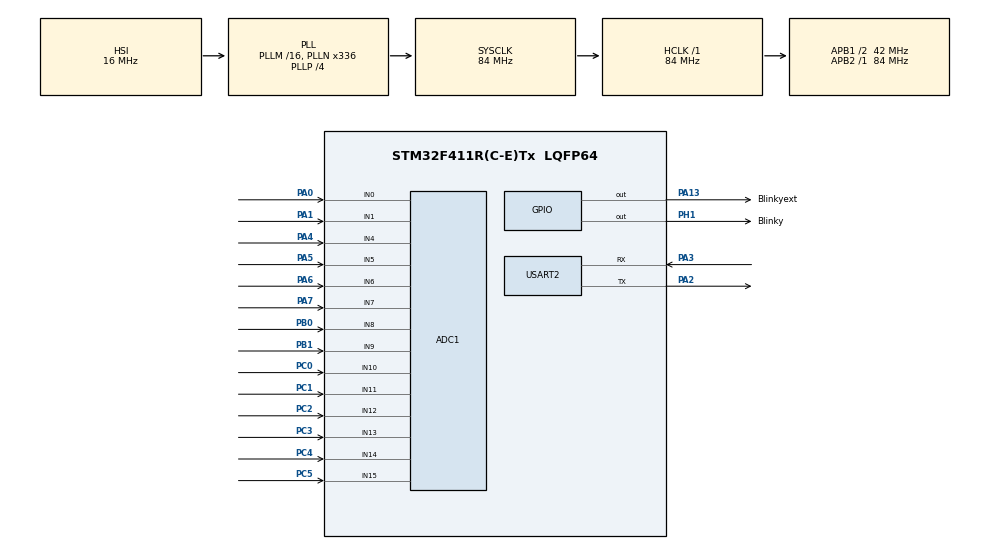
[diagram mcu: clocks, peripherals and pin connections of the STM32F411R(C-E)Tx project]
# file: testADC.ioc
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ADC1.Channel-0\#ChannelRegularConversion=ADC_CHANNEL_0
ADC1.Channel-1\#ChannelRegularConversion=ADC_CHANNEL_1
ADC1.Channel-10\#ChannelRegularConversion=ADC_CHANNEL_12
ADC1.Channel-11\#ChannelRegularConversion=ADC_CHANNEL_13
ADC1.Channel-12\#ChannelRegularConversion=ADC_CHANNEL_14
ADC1.Channel-13\#ChannelRegularConversion=ADC_CHANNEL_15
ADC1.Channel-2\#ChannelRegularConversion=ADC_CHANNEL_4
ADC1.Channel-3\#ChannelRegularConversion=ADC_CHANNEL_5
ADC1.Channel-4\#ChannelRegularConversion=ADC_CHANNEL_6
ADC1.Channel-5\#ChannelRegularConversion=ADC_CHANNEL_7
ADC1.Channel-6\#ChannelRegularConversion=ADC_CHANNEL_8
ADC1.Channel-7\#ChannelRegularConversion=ADC_CHANNEL_9
ADC1.Channel-8\#ChannelRegularConversion=ADC_CHANNEL_10
ADC1.Channel-9\#ChannelRegularConversion=ADC_CHANNEL_11
ADC1.ContinuousConvMode=ENABLE
ADC1.NbrOfConversion=14
ADC1.NbrOfConversionFlag=1
ADC1.Rank-0\#ChannelRegularConversion=1
ADC1.Rank-1\#ChannelRegularConversion=2
ADC1.Rank-10\#ChannelRegularConversion=11
ADC1.Rank-11\#ChannelRegularConversion=12
ADC1.Rank-12\#ChannelRegularConversion=13
ADC1.Rank-13\#ChannelRegularConversion=14
ADC1.Rank-2\#ChannelRegularConversion=3
ADC1.Rank-3\#ChannelRegularConversion=4
ADC1.Rank-4\#ChannelRegularConversion=5
ADC1.Rank-5\#ChannelRegularConversion=6
ADC1.Rank-6\#ChannelRegularConversion=7
ADC1.Rank-7\#ChannelRegularConversion=8
ADC1.Rank-8\#ChannelRegularConversion=9
ADC1.Rank-9\#ChannelRegularConversion=10
ADC1.SamplingTime-0\#ChannelRegularConversion=ADC_SAMPLETIME_3CYCLES
ADC1.SamplingTime-1\#ChannelRegularConversion=ADC_SAMPLETIME_3CYCLES
ADC1.SamplingTime-10\#ChannelRegularConversion=ADC_SAMPLETIME_3CYCLES
ADC1.SamplingTime-11\#ChannelRegularConversion=ADC_SAMPLETIME_3CYCLES
ADC1.SamplingTime-12\#ChannelRegularConversion=ADC_SAMPLETIME_3CYCLES
ADC1.SamplingTime-13\#ChannelRegularConversion=ADC_SAMPLETIME_3CYCLES
ADC1.SamplingTime-2\#ChannelRegularConversion=ADC_SAMPLETIME_3CYCLES
ADC1.SamplingTime-3\#ChannelRegularConversion=ADC_SAMPLETIME_3CYCLES
ADC1.SamplingTime-4\#ChannelRegularConversion=ADC_SAMPLETIME_3CYCLES
ADC1.SamplingTime-5\#ChannelRegularConversion=ADC_SAMPLETIME_3CYCLES
ADC1.SamplingTime-6\#ChannelRegularConversion=ADC_SAMPLETIME_3CYCLES
ADC1.SamplingTime-7\#ChannelRegularConversion=ADC_SAMPLETIME_3CYCLES
ADC1.SamplingTime-8\#ChannelRegularConversion=ADC_SAMPLETIME_3CYCLES
ADC1.SamplingTime-9\#ChannelRegularConversion=ADC_SAMPLETIME_3CYCLES
ADC1.ScanConvMode=ENABLE
ADC1.master=1
Dma.ADC1.0.Direction=DMA_PERIPH_TO_MEMORY
Dma.ADC1.0.FIFOMode=DMA_FIFOMODE_DISABLE
Dma.ADC1.0.Instance=DMA2_Stream0
Dma.ADC1.0.MemDataAlignment=DMA_MDATAALIGN_HALFWORD
Dma.ADC1.0.MemInc=DMA_MINC_ENABLE
Dma.ADC1.0.Mode=DMA_CIRCULAR
Dma.ADC1.0.PeriphDataAlignment=DMA_PDATAALIGN_HALFWORD
Dma.ADC1.0.PeriphInc=DMA_PINC_DISABLE
Dma.ADC1.0.Priority=DMA_PRIORITY_LOW
Dma.Request0=ADC1
Dma.Request1=USART2_RX
Dma.Request2=USART2_TX
Dma.USART2_RX.1.Direction=DMA_PERIPH_TO_MEMORY
Dma.USART2_RX.1.FIFOMode=DMA_FIFOMODE_DISABLE
Dma.USART2_RX.1.Instance=DMA1_Stream5
Dma.USART2_RX.1.MemDataAlignment=DMA_MDATAALIGN_BYTE
Dma.USART2_RX.1.MemInc=DMA_MINC_ENABLE
Dma.USART2_RX.1.Mode=DMA_CIRCULAR
Dma.USART2_RX.1.PeriphDataAlignment=DMA_PDATAALIGN_BYTE
Dma.USART2_RX.1.PeriphInc=DMA_PINC_DISABLE
Dma.USART2_RX.1.Priority=DMA_PRIORITY_LOW
Dma.USART2_TX.2.Direction=DMA_MEMORY_TO_PERIPH
Dma.USART2_TX.2.FIFOMode=DMA_FIFOMODE_DISABLE
Dma.USART2_TX.2.Instance=DMA1_Stream6
Dma.USART2_TX.2.MemDataAlignment=DMA_MDATAALIGN_BYTE
Dma.USART2_TX.2.MemInc=DMA_MINC_ENABLE
Dma.USART2_TX.2.Mode=DMA_CIRCULAR
Dma.USART2_TX.2.PeriphDataAlignment=DMA_PDATAALIGN_BYTE
Dma.USART2_TX.2.PeriphInc=DMA_PINC_DISABLE
Dma.USART2_TX.2.Priority=DMA_PRIORITY_LOW
Mcu.Family=STM32F4
Mcu.Name=STM32F411R(C-E)Tx
Mcu.Package=LQFP64
NVIC.DMA1_Stream5_IRQn=true\:0\:0\:false\:false\:true\:false\:true\:true
NVIC.DMA1_Stream6_IRQn=true\:0\:0\:false\:false\:true\:false\:true\:true
NVIC.DMA2_Stream0_IRQn=true\:0\:0\:false\:false\:true\:false\:true\:true
NVIC.PriorityGroup=NVIC_PRIORITYGROUP_0
PA0-WKUP.Signal=ADCx_IN0
PA1.Signal=ADCx_IN1
PA13.GPIO_Label=Blinkyext
PA13.Signal=GPIO_Output
PA2.Mode=Asynchronous
PA2.Signal=USART2_TX
PA3.Mode=Asynchronous
PA3.Signal=USART2_RX
PA4.Signal=ADCx_IN4
PA5.Signal=ADCx_IN5
PA6.Signal=ADCx_IN6
PA7.Signal=ADCx_IN7
PB0.Signal=ADCx_IN8
PB1.Signal=ADCx_IN9
PC0.Signal=ADCx_IN10
PC1.Signal=ADCx_IN11
PC2.Signal=ADCx_IN12
PC3.Signal=ADCx_IN13
PC4.Signal=ADCx_IN14
PC5.Signal=ADCx_IN15
PH1\ -\ OSC_OUT.GPIO_Label=Blinky
PH1\ -\ OSC_OUT.Signal=GPIO_Output
ProjectManager.HeapSize=0x200
ProjectManager.StackSize=0x400
ProjectManager.TargetToolchain=STM32CubeIDE
RCC.48MHZClocksFreq_Value=84000000
RCC.AHBFreq_Value=84000000
RCC.APB1CLKDivider=RCC_HCLK_DIV2
RCC.APB1Freq_Value=42000000
RCC.APB1TimFreq_Value=84000000
RCC.APB2Freq_Value=84000000
RCC.APB2TimFreq_Value=84000000
RCC.CortexFreq_Value=84000000
RCC.FLatency-AdvancedSettings=FLASH_LATENCY_2
RCC.HCLKFreq_Value=84000000
RCC.HSE_VALUE=8000000
RCC.HSI_VALUE=16000000
RCC.LSE_VALUE=32768
RCC.PLLN=336
RCC.PLLP=RCC_PLLP_DIV4
RCC.SYSCLKFreq_VALUE=84000000
RCC.SYSCLKSource=RCC_SYSCLKSOURCE_PLLCLK
RCC.VCOOutputFreq_Value=336000000
SH.ADCx_IN0.0=ADC1_IN0,IN0
SH.ADCx_IN1.0=ADC1_IN1,IN1
SH.ADCx_IN10.0=ADC1_IN10,IN10
SH.ADCx_IN11.0=ADC1_IN11,IN11
SH.ADCx_IN12.0=ADC1_IN12,IN12
SH.ADCx_IN13.0=ADC1_IN13,IN13
SH.ADCx_IN14.0=ADC1_IN14,IN14
SH.ADCx_IN15.0=ADC1_IN15,IN15
SH.ADCx_IN4.0=ADC1_IN4,IN4
SH.ADCx_IN5.0=ADC1_IN5,IN5
SH.ADCx_IN6.0=ADC1_IN6,IN6
SH.ADCx_IN7.0=ADC1_IN7,IN7
SH.ADCx_IN8.0=ADC1_IN8,IN8
SH.ADCx_IN9.0=ADC1_IN9,IN9
USART2.VirtualMode=VM_ASYNC
board=NUCLEO-F411RE

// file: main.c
/* USER CODE BEGIN Header */
/**
 ******************************************************************************
 * @file           : main.c
 * @brief          : Main program body
 ******************************************************************************
 * @attention
 *
 * Copyright (c) 2026 STMicroelectronics.
 * All rights reserved.
 *
 * This software is licensed under terms that can be found in the LICENSE file
 * in the root directory of this software component.
 * If no LICENSE file comes with this software, it is provided AS-IS.
 *
 ******************************************************************************
 */
/* USER CODE END Header */
#include "main.h"

/* USER CODE BEGIN Includes */
#include "stdio.h"
#include "string.h"
/* USER CODE END Includes */

ADC_HandleTypeDef hadc1;
DMA_HandleTypeDef hdma_adc1;

UART_HandleTypeDef huart2;
DMA_HandleTypeDef hdma_usart2_rx;
DMA_HandleTypeDef hdma_usart2_tx;

/* USER CODE BEGIN PV */
uint16_t adcbuffer[14] = {0}; //Buffer necesario para almacenar y transmitir los valores obtenidos del ADC
volatile uint8_t adcReady = 0;
uint16_t lecturaADCx = 0;

/* USER CODE END PV */

void SystemClock_Config(void);
static void MX_GPIO_Init(void);
static void MX_DMA_Init(void);
static void MX_ADC1_Init(void);
static void MX_USART2_UART_Init(void);
/* USER CODE BEGIN PFP */
void testadc(void);
uint16_t ConversionADC(uint16_t adcx);
/* USER CODE END PFP */

int main(void)
{

	/* MCU Configuration--------------------------------------------------------*/

	/* Reset of all peripherals, Initializes the Flash interface and the Systick. */
	HAL_Init();

	/* Configure the system clock */
	SystemClock_Config();

	/* Initialize all configured peripherals */
	MX_GPIO_Init();
	MX_DMA_Init();
	MX_ADC1_Init();
	MX_USART2_UART_Init();
	/* USER CODE BEGIN 2 */
	HAL_Delay(1000);
	testadc();

	/* USER CODE END 2 */

	/* Infinite loop */
	while (1)
	{
		HAL_GPIO_TogglePin(Blinkyext_GPIO_Port, Blinkyext_Pin);
		HAL_Delay(500);
	}
}

void SystemClock_Config(void)
{
	RCC_OscInitTypeDef RCC_OscInitStruct = {0};
	RCC_ClkInitTypeDef RCC_ClkInitStruct = {0};

	/** Configure the main internal regulator output voltage
	 */
	__HAL_RCC_PWR_CLK_ENABLE();
	__HAL_PWR_VOLTAGESCALING_CONFIG(PWR_REGULATOR_VOLTAGE_SCALE1);

	/** Initializes the RCC Oscillators according to the specified parameters
	 * in the RCC_OscInitTypeDef structure.
	 */
	RCC_OscInitStruct.OscillatorType = RCC_OSCILLATORTYPE_HSI;
	RCC_OscInitStruct.HSIState = RCC_HSI_ON;
	RCC_OscInitStruct.HSICalibrationValue = RCC_HSICALIBRATION_DEFAULT;
	RCC_OscInitStruct.PLL.PLLState = RCC_PLL_ON;
	RCC_OscInitStruct.PLL.PLLSource = RCC_PLLSOURCE_HSI;
	RCC_OscInitStruct.PLL.PLLM = 16;
	RCC_OscInitStruct.PLL.PLLN = 336;
	RCC_OscInitStruct.PLL.PLLP = RCC_PLLP_DIV4;
	RCC_OscInitStruct.PLL.PLLQ = 4;
	if (HAL_RCC_OscConfig(&RCC_OscInitStruct) != HAL_OK)
	{
		Error_Handler();
	}

	/** Initializes the CPU, AHB and APB buses clocks
	 */
	RCC_ClkInitStruct.ClockType = RCC_CLOCKTYPE_HCLK|RCC_CLOCKTYPE_SYSCLK
			|RCC_CLOCKTYPE_PCLK1|RCC_CLOCKTYPE_PCLK2;
	RCC_ClkInitStruct.SYSCLKSource = RCC_SYSCLKSOURCE_PLLCLK;
	RCC_ClkInitStruct.AHBCLKDivider = RCC_SYSCLK_DIV1;
	RCC_ClkInitStruct.APB1CLKDivider = RCC_HCLK_DIV2;
	RCC_ClkInitStruct.APB2CLKDivider = RCC_HCLK_DIV1;

	if (HAL_RCC_ClockConfig(&RCC_ClkInitStruct, FLASH_LATENCY_2) != HAL_OK)
	{
		Error_Handler();
	}
}

static void MX_ADC1_Init(void)
{

	ADC_ChannelConfTypeDef sConfig = {0};

	/** Configure the global features of the ADC (Clock, Resolution, Data Alignment and number of conversion)
	 */
	hadc1.Instance = ADC1;
	hadc1.Init.ClockPrescaler = ADC_CLOCK_SYNC_PCLK_DIV4;
	hadc1.Init.Resolution = ADC_RESOLUTION_12B;
	hadc1.Init.ScanConvMode = ENABLE;
	hadc1.Init.ContinuousConvMode = ENABLE;
	hadc1.Init.DiscontinuousConvMode = DISABLE;
	hadc1.Init.ExternalTrigConvEdge = ADC_EXTERNALTRIGCONVEDGE_NONE;
	hadc1.Init.ExternalTrigConv = ADC_SOFTWARE_START;
	hadc1.Init.DataAlign = ADC_DATAALIGN_RIGHT;
	hadc1.Init.NbrOfConversion = 14;
	hadc1.Init.DMAContinuousRequests = DISABLE;
	hadc1.Init.EOCSelection = ADC_EOC_SINGLE_CONV;
	if (HAL_ADC_Init(&hadc1) != HAL_OK)
	{
		Error_Handler();
	}

	/** Configure for the selected ADC regular channel its corresponding rank in the sequencer and its sample time.
	 */
	sConfig.Channel = ADC_CHANNEL_0;
	sConfig.Rank = 1;
	sConfig.SamplingTime = ADC_SAMPLETIME_3CYCLES;
	if (HAL_ADC_ConfigChannel(&hadc1, &sConfig) != HAL_OK)
	{
		Error_Handler();
	}

	/** Configure for the selected ADC regular channel its corresponding rank in the sequencer and its sample time.
	 */
	sConfig.Channel = ADC_CHANNEL_1;
	sConfig.Rank = 2;
	if (HAL_ADC_ConfigChannel(&hadc1, &sConfig) != HAL_OK)
	{
		Error_Handler();
	}

	/** Configure for the selected ADC regular channel its corresponding rank in the sequencer and its sample time.
	 */
	sConfig.Channel = ADC_CHANNEL_4;
	sConfig.Rank = 3;
	if (HAL_ADC_ConfigChannel(&hadc1, &sConfig) != HAL_OK)
	{
		Error_Handler();
	}

	/** Configure for the selected ADC regular channel its corresponding rank in the sequencer and its sample time.
	 */
	sConfig.Channel = ADC_CHANNEL_5;
	sConfig.Rank = 4;
	if (HAL_ADC_ConfigChannel(&hadc1, &sConfig) != HAL_OK)
	{
		Error_Handler();
	}

	/** Configure for the selected ADC regular channel its corresponding rank in the sequencer and its sample time.
	 */
	sConfig.Channel = ADC_CHANNEL_6;
	sConfig.Rank = 5;
	if (HAL_ADC_ConfigChannel(&hadc1, &sConfig) != HAL_OK)
	{
		Error_Handler();
	}

	/** Configure for the selected ADC regular channel its corresponding rank in the sequencer and its sample time.
	 */
	sConfig.Channel = ADC_CHANNEL_7;
	sConfig.Rank = 6;
	if (HAL_ADC_ConfigChannel(&hadc1, &sConfig) != HAL_OK)
	{
		Error_Handler();
	}

	/** Configure for the selected ADC regular channel its corresponding rank in the sequencer and its sample time.
	 */
	sConfig.Channel = ADC_CHANNEL_8;
	sConfig.Rank = 7;
	if (HAL_ADC_ConfigChannel(&hadc1, &sConfig) != HAL_OK)
	{
		Error_Handler();
	}

	/** Configure for the selected ADC regular channel its corresponding rank in the sequencer and its sample time.
	 */
	sConfig.Channel = ADC_CHANNEL_9;
	sConfig.Rank = 8;
	if (HAL_ADC_ConfigChannel(&hadc1, &sConfig) != HAL_OK)
	{
		Error_Handler();
	}

	/** Configure for the selected ADC regular channel its corresponding rank in the sequencer and its sample time.
	 */
	sConfig.Channel = ADC_CHANNEL_10;
	sConfig.Rank = 9;
	if (HAL_ADC_ConfigChannel(&hadc1, &sConfig) != HAL_OK)
	{
		Error_Handler();
	}

	/** Configure for the selected ADC regular channel its corresponding rank in the sequencer and its sample time.
	 */
	sConfig.Channel = ADC_CHANNEL_11;
	sConfig.Rank = 10;
	if (HAL_ADC_ConfigChannel(&hadc1, &sConfig) != HAL_OK)
	{
		Error_Handler();
	}

	/** Configure for the selected ADC regular channel its corresponding rank in the sequencer and its sample time.
	 */
	sConfig.Channel = ADC_CHANNEL_12;
	sConfig.Rank = 11;
	if (HAL_ADC_ConfigChannel(&hadc1, &sConfig) != HAL_OK)
	{
		Error_Handler();
	}

	/** Configure for the selected ADC regular channel its corresponding rank in the sequencer and its sample time.
	 */
	sConfig.Channel = ADC_CHANNEL_13;
	sConfig.Rank = 12;
	if (HAL_ADC_ConfigChannel(&hadc1, &sConfig) != HAL_OK)
	{
		Error_Handler();
	}

	/** Configure for the selected ADC regular channel its corresponding rank in the sequencer and its sample time.
	 */
	sConfig.Channel = ADC_CHANNEL_14;
	sConfig.Rank = 13;
	if (HAL_ADC_ConfigChannel(&hadc1, &sConfig) != HAL_OK)
	{
		Error_Handler();
	}

	/** Configure for the selected ADC regular channel its corresponding rank in the sequencer and its sample time.
	 */
	sConfig.Channel = ADC_CHANNEL_15;
	sConfig.Rank = 14;
	if (HAL_ADC_ConfigChannel(&hadc1, &sConfig) != HAL_OK)
	{
		Error_Handler();
	}

}

static void MX_USART2_UART_Init(void)
{

	huart2.Instance = USART2;
	huart2.Init.BaudRate = 115200;
	huart2.Init.WordLength = UART_WORDLENGTH_8B;
	huart2.Init.StopBits = UART_STOPBITS_1;
	huart2.Init.Parity = UART_PARITY_NONE;
	huart2.Init.Mode = UART_MODE_TX_RX;
	huart2.Init.HwFlowCtl = UART_HWCONTROL_NONE;
	huart2.Init.OverSampling = UART_OVERSAMPLING_16;
	if (HAL_UART_Init(&huart2) != HAL_OK)
	{
		Error_Handler();
	}

}

static void MX_DMA_Init(void)
{

	/* DMA controller clock enable */
	__HAL_RCC_DMA2_CLK_ENABLE();
	__HAL_RCC_DMA1_CLK_ENABLE();

	/* DMA interrupt init */
	/* DMA1_Stream5_IRQn interrupt configuration */
	HAL_NVIC_SetPriority(DMA1_Stream5_IRQn, 0, 0);
	HAL_NVIC_EnableIRQ(DMA1_Stream5_IRQn);
	/* DMA1_Stream6_IRQn interrupt configuration */
	HAL_NVIC_SetPriority(DMA1_Stream6_IRQn, 0, 0);
	HAL_NVIC_EnableIRQ(DMA1_Stream6_IRQn);
	/* DMA2_Stream0_IRQn interrupt configuration */
	HAL_NVIC_SetPriority(DMA2_Stream0_IRQn, 0, 0);
	HAL_NVIC_EnableIRQ(DMA2_Stream0_IRQn);

}

static void MX_GPIO_Init(void)
{
	GPIO_InitTypeDef GPIO_InitStruct = {0};

	/* GPIO Ports Clock Enable */
	__HAL_RCC_GPIOH_CLK_ENABLE();
	__HAL_RCC_GPIOC_CLK_ENABLE();
	__HAL_RCC_GPIOA_CLK_ENABLE();
	__HAL_RCC_GPIOB_CLK_ENABLE();

	/*Configure GPIO pin Output Level */
	HAL_GPIO_WritePin(Blinky_GPIO_Port, Blinky_Pin, GPIO_PIN_RESET);

	/*Configure GPIO pin Output Level */
	HAL_GPIO_WritePin(Blinkyext_GPIO_Port, Blinkyext_Pin, GPIO_PIN_RESET);

	/*Configure GPIO pin : Blinky_Pin */
	GPIO_InitStruct.Pin = Blinky_Pin;
	GPIO_InitStruct.Mode = GPIO_MODE_OUTPUT_PP;
	GPIO_InitStruct.Pull = GPIO_NOPULL;
	GPIO_InitStruct.Speed = GPIO_SPEED_FREQ_LOW;
	HAL_GPIO_Init(Blinky_GPIO_Port, &GPIO_InitStruct);

	/*Configure GPIO pin : Blinkyext_Pin */
	GPIO_InitStruct.Pin = Blinkyext_Pin;
	GPIO_InitStruct.Mode = GPIO_MODE_OUTPUT_PP;
	GPIO_InitStruct.Pull = GPIO_NOPULL;
	GPIO_InitStruct.Speed = GPIO_SPEED_FREQ_LOW;
	HAL_GPIO_Init(Blinkyext_GPIO_Port, &GPIO_InitStruct);

}

/* USER CODE BEGIN 4 */

void HAL_ADC_ConvCpltCallback (ADC_HandleTypeDef* hadc){

	adcReady = 1; //Sube una bandera que en el main es manipulada para actualizar los valores del ADC

}

uint16_t ConversionADC(uint16_t adcx){
	return(adcx*3300 / 4095);
}

void testadc(void){
	char msgdata [100];
	adcReady = 0;

	HAL_ADC_Start_DMA(&hadc1, (uint32_t*)adcbuffer, 14);

	while(adcReady == 0);

	HAL_ADC_Stop_DMA(&hadc1);

	for(int i = 0; i < 2; i++) {
		lecturaADCx = ConversionADC(adcbuffer[i]);
		sprintf(msgdata, "Canal %d: %d mV\r\n", i, lecturaADCx);
		HAL_UART_Transmit(&huart2, (uint8_t*)msgdata, strlen(msgdata), 100);

	}

	for(int i = 2; i < 14; i++) { //2 canales utilizados para comunicación
			lecturaADCx = ConversionADC(adcbuffer[i]);
			sprintf(msgdata, "Canal %d: %d mV\r\n", i+2, lecturaADCx);
			HAL_UART_Transmit(&huart2, (uint8_t*)msgdata, strlen(msgdata), 100);

		}

}

/* USER CODE END 4 */

void Error_Handler(void)
{
	__disable_irq();
	while (1)
	{
	}
}
